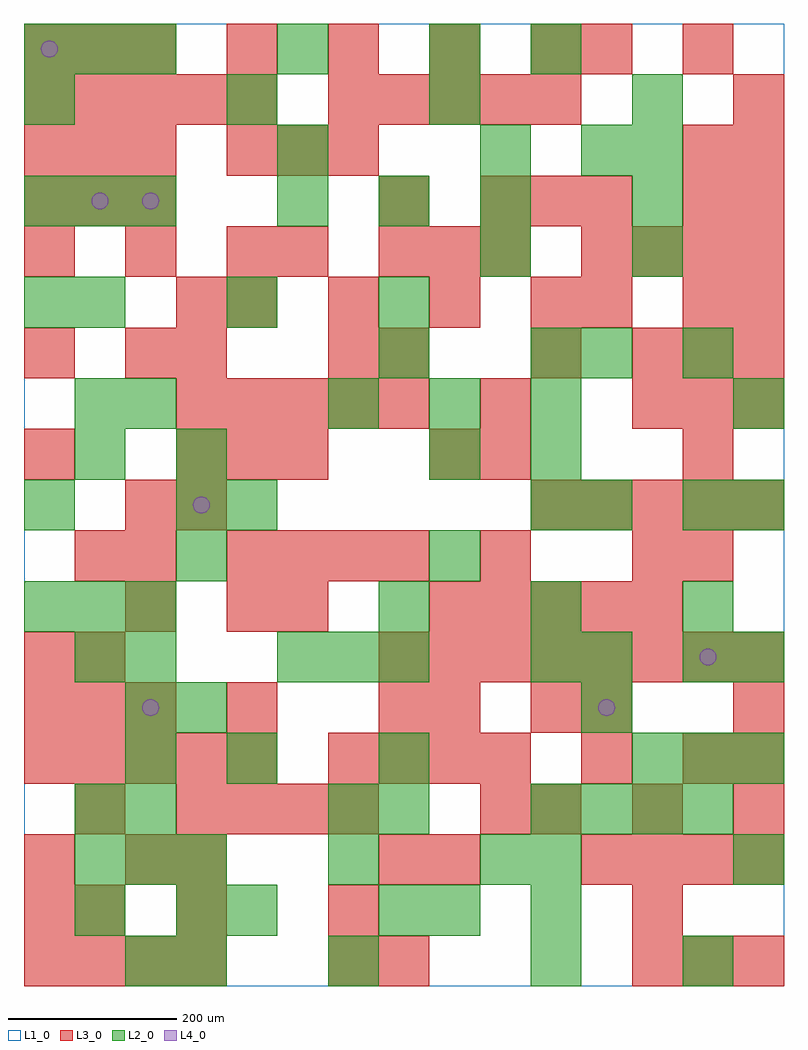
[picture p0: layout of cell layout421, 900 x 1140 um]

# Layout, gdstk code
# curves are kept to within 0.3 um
import gdstk
lib = gdstk.Library(unit=1e-6, precision=1e-09)
def R(c, l, rs):  # rectangles x0, y0, x1, y1
    for r in rs: c.add(gdstk.rectangle(r[:2], r[2:], *l))
def A(c, l, x, y, w, h, nx, ny, dx, dy):  # array of equal rectangles
    R(c, l, [(x+i*dx, y+j*dy, x+i*dx+w, y+j*dy+h) for i in range(nx) for j in range(ny)])
def P(c, l, *ps):  # polygons
    for p in ps: c.add(gdstk.Polygon(p, *l))
L1_0 = (1, 0)
L2_0 = (2, 0)
L3_0 = (3, 0)
L4_0 = (4, 0)

layout421 = lib.new_cell('layout421')
R(layout421, L1_0, [(0,0,900,1140)])
A(layout421, L2_0, 600, 0, 60, 60, 1, 3, 0, 60)
A(layout421, L2_0, 60, 120, 60, 60, 3, 1, 60, 0)
A(layout421, L2_0, 120, 180, 60, 60, 1, 4, 0, 60)
A(layout421, L2_0, 600, 180, 60, 60, 4, 1, 60, 0)
A(layout421, L2_0, 720, 240, 60, 60, 3, 1, 60, 0)
A(layout421, L2_0, 300, 360, 60, 60, 3, 1, 60, 0)
A(layout421, L2_0, 660, 360, 60, 60, 1, 3, 0, 180)
A(layout421, L2_0, 780, 360, 60, 60, 1, 3, 0, 180)
A(layout421, L2_0, 0, 420, 60, 60, 3, 2, 60, 480)
A(layout421, L2_0, 420, 420, 60, 60, 3, 1, 180, 0)
A(layout421, L2_0, 180, 480, 60, 60, 1, 3, 0, 60)
A(layout421, L2_0, 360, 660, 60, 60, 3, 1, 120, 0)
A(layout421, L2_0, 60, 780, 60, 60, 3, 1, 180, 0)
A(layout421, L2_0, 720, 840, 60, 60, 1, 3, 0, 60)
A(layout421, L2_0, 300, 900, 60, 60, 3, 1, 120, 0)
A(layout421, L2_0, 0, 1020, 60, 60, 4, 1, 240, 0)
A(layout421, L2_0, 0, 1080, 60, 60, 3, 1, 60, 0)
R(layout421, L2_0, [(120,0,180,60), (180,0,240,60), (360,0,420,60), (780,0,840,60), (60,60,120,120), (180,60,240,120), (240,60,300,120), (420,60,480,120), (480,60,540,120), (360,120,420,180), (540,120,600,180), (840,120,900,180), (60,180,120,240), (360,180,420,240), (420,180,480,240), (240,240,300,300), (420,240,480,300), (180,300,240,360), (660,300,720,360), (60,360,120,420), (600,360,660,420), (840,360,900,420), (480,480,540,540), (0,540,60,600), (240,540,300,600), (600,540,660,600), (840,540,900,600), (60,600,120,660), (480,600,540,660), (600,600,660,660), (60,660,120,720), (120,660,180,720), (840,660,900,720), (420,720,480,780), (600,720,660,780), (0,780,60,840), (540,840,600,900), (300,960,360,1020), (540,960,600,1020), (660,960,720,1020), (300,1080,360,1140), (480,1080,540,1140), (600,1080,660,1140)])
A(layout421, L3_0, 0, 0, 60, 60, 4, 1, 60, 0)
A(layout421, L3_0, 720, 0, 60, 60, 3, 2, 60, 660)
A(layout421, L3_0, 0, 120, 60, 60, 1, 3, 0, 240)
A(layout421, L3_0, 660, 120, 60, 60, 4, 2, 60, 720)
A(layout421, L3_0, 180, 180, 60, 60, 4, 1, 60, 0)
A(layout421, L3_0, 600, 180, 60, 60, 3, 1, 120, 0)
A(layout421, L3_0, 0, 240, 60, 60, 5, 2, 60, 780)
A(layout421, L3_0, 360, 240, 60, 60, 4, 1, 60, 0)
A(layout421, L3_0, 0, 300, 60, 60, 3, 2, 60, 600)
A(layout421, L3_0, 420, 360, 60, 60, 8, 1, 60, 0)
A(layout421, L3_0, 120, 420, 60, 60, 1, 3, 0, 60)
A(layout421, L3_0, 480, 420, 60, 60, 5, 1, 60, 0)
A(layout421, L3_0, 240, 480, 60, 60, 4, 1, 60, 0)
A(layout421, L3_0, 600, 540, 60, 60, 5, 1, 60, 0)
A(layout421, L3_0, 180, 600, 60, 60, 3, 1, 60, 0)
A(layout421, L3_0, 180, 660, 60, 60, 5, 1, 60, 0)
A(layout421, L3_0, 720, 720, 60, 60, 3, 1, 60, 0)
A(layout421, L3_0, 240, 780, 60, 60, 4, 2, 120, 300)
A(layout421, L3_0, 0, 840, 60, 60, 3, 1, 120, 0)
A(layout421, L3_0, 420, 840, 60, 60, 3, 1, 60, 0)
A(layout421, L3_0, 540, 900, 60, 60, 3, 1, 60, 0)
A(layout421, L3_0, 840, 900, 60, 60, 1, 3, 0, 60)
A(layout421, L3_0, 0, 960, 60, 60, 3, 2, 60, 120)
A(layout421, L3_0, 240, 960, 60, 60, 3, 1, 60, 0)
A(layout421, L3_0, 360, 1020, 60, 60, 5, 1, 60, 0)
R(layout421, L3_0, [(360,0,420,60), (420,0,480,60), (0,60,60,120), (60,60,120,120), (180,60,240,120), (360,60,420,120), (720,60,780,120), (120,120,180,180), (180,120,240,180), (420,120,480,180), (480,120,540,180), (60,180,120,240), (540,180,600,240), (660,240,720,300), (780,240,840,300), (840,240,900,300), (240,300,300,360), (420,300,480,360), (480,300,540,360), (600,300,660,360), (660,300,720,360), (840,300,900,360), (60,360,120,420), (240,420,300,480), (300,420,360,480), (60,480,120,540), (540,480,600,540), (720,480,780,540), (780,480,840,540), (180,540,240,600), (480,600,540,660), (540,600,600,660), (780,600,840,660), (540,660,600,720), (0,720,60,780), (120,720,180,780), (180,720,240,780), (360,720,420,780), (420,720,480,780), (600,720,660,780), (180,780,240,840), (660,780,720,840), (780,780,840,840), (840,780,900,840), (300,840,360,900), (420,900,480,960), (780,900,840,960), (780,960,840,1020), (660,1080,720,1140), (780,1080,840,1140)])
P(layout421, L4_0, [(40,1110),(39.239,1113.827),(37.071,1117.071),(33.827,1119.239),(30,1120),(26.173,1119.239),(22.929,1117.071),(20.761,1113.827),(20,1110),(20.761,1106.173),(22.929,1102.929),(26.173,1100.761),(30,1100),(33.827,1100.761),(37.071,1102.929),(39.239,1106.173)],
  [(100,930),(99.239,933.827),(97.071,937.071),(93.827,939.239),(90,940),(86.173,939.239),(82.929,937.071),(80.761,933.827),(80,930),(80.761,926.173),(82.929,922.929),(86.173,920.761),(90,920),(93.827,920.761),(97.071,922.929),(99.239,926.173)],
  [(160,330),(159.239,333.827),(157.071,337.071),(153.827,339.239),(150,340),(146.173,339.239),(142.929,337.071),(140.761,333.827),(140,330),(140.761,326.173),(142.929,322.929),(146.173,320.761),(150,320),(153.827,320.761),(157.071,322.929),(159.239,326.173)],
  [(160,930),(159.239,933.827),(157.071,937.071),(153.827,939.239),(150,940),(146.173,939.239),(142.929,937.071),(140.761,933.827),(140,930),(140.761,926.173),(142.929,922.929),(146.173,920.761),(150,920),(153.827,920.761),(157.071,922.929),(159.239,926.173)],
  [(220,570),(219.239,573.827),(217.071,577.071),(213.827,579.239),(210,580),(206.173,579.239),(202.929,577.071),(200.761,573.827),(200,570),(200.761,566.173),(202.929,562.929),(206.173,560.761),(210,560),(213.827,560.761),(217.071,562.929),(219.239,566.173)],
  [(700,330),(699.239,333.827),(697.071,337.071),(693.827,339.239),(690,340),(686.173,339.239),(682.929,337.071),(680.761,333.827),(680,330),(680.761,326.173),(682.929,322.929),(686.173,320.761),(690,320),(693.827,320.761),(697.071,322.929),(699.239,326.173)],
  [(820,390),(819.239,393.827),(817.071,397.071),(813.827,399.239),(810,400),(806.173,399.239),(802.929,397.071),(800.761,393.827),(800,390),(800.761,386.173),(802.929,382.929),(806.173,380.761),(810,380),(813.827,380.761),(817.071,382.929),(819.239,386.173)])

lib.write_gds('layout421.gds')
